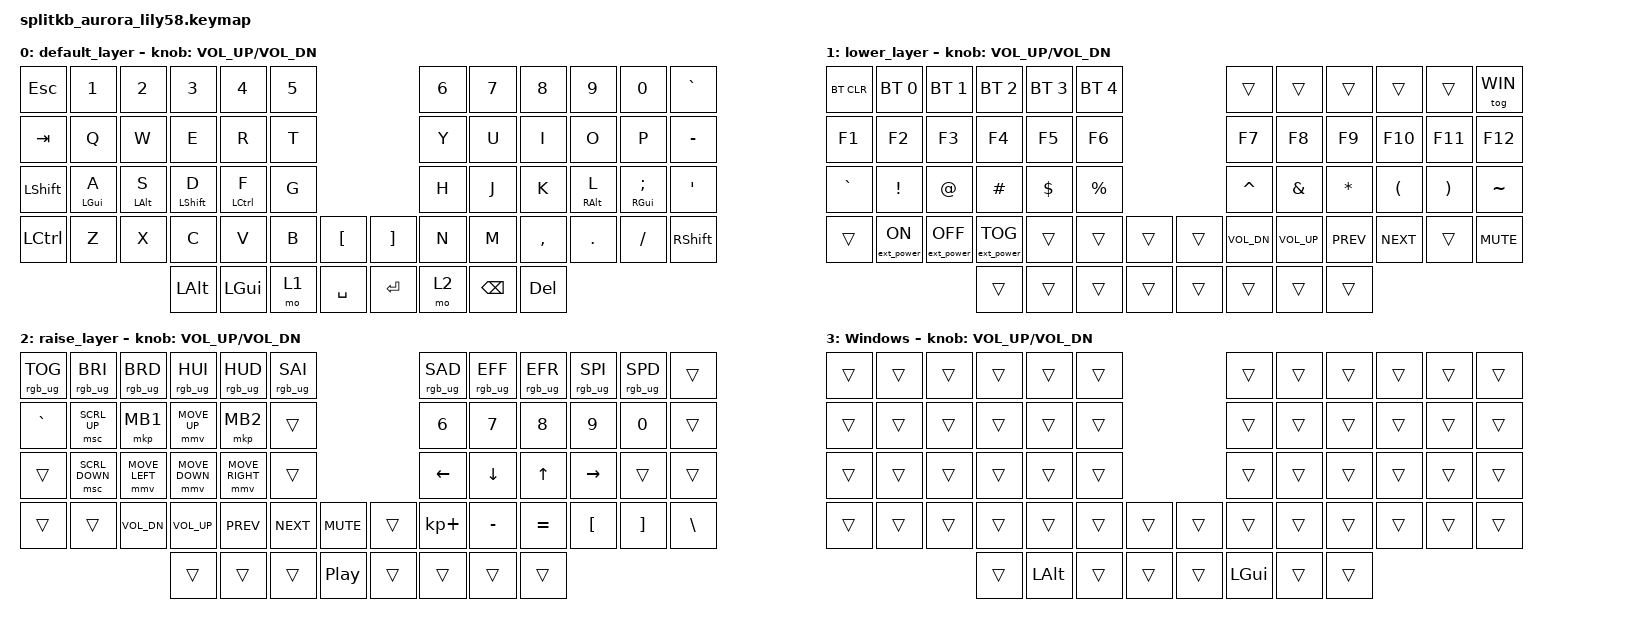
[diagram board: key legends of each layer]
/*
 * Copyright (c) 2022 The ZMK Contributors
 *
 * SPDX-License-Identifier: MIT
 */

#include <behaviors.dtsi>
#include <dt-bindings/zmk/rgb.h>
#include <dt-bindings/zmk/keys.h>
#include <dt-bindings/zmk/bt.h>
#include <dt-bindings/zmk/ext_power.h>
#include <dt-bindings/zmk/pointing.h>

#define ZMK_POINTING_DEFAULT_MOVE_VAL 1000  // default: 600
#define ZMK_POINTING_DEFAULT_SCRL_VAL 12    // default: 10
#define WIN 3

/ {
   behaviors {
         hm: homerow_mods {
             compatible = "zmk,behavior-hold-tap";
             label = "HOMEROW_MODS";
             #binding-cells = <2>;
             tapping-term-ms = <150>;
             quick-tap-ms = <0>;
             flavor = "tap-preferred";
             bindings = <&kp>, <&kp>;
         };
     };

    combos {
       compatible = "zmk,combos";

       combo_lpar {
         timeout-ms = <50>;
         key-positions = <16 17>;  // R + T
         bindings = <&kp LPAR>;
     };

     combo_rpar {
         timeout-ms = <50>;
         key-positions = <18 19>;  // Y + U
         bindings = <&kp RPAR>;
     };

     combo_lbkt {
         timeout-ms = <50>;
         key-positions = <28 29>; // F + G
         bindings = <&kp LBKT>;
     };

     combo_rbkt {
         timeout-ms = <50>;
         key-positions = <30 31>; // H + J
         bindings = <&kp RBKT>;
     };

     combo_lbrc {
         timeout-ms = <50>;
         key-positions = <40 41>; // V + B
         bindings = <&kp LBRC>;
     };

     combo_rbrc {
         timeout-ms = <50>;
         key-positions = <44 45>; // N + M
         bindings = <&kp RBRC>;
     };

     combo_esc {
         timeout-ms = <50>;
         key-positions = <31 32>; // J + K
         bindings = <&kp ESC>;
     };
     };

     keymap {
         compatible = "zmk,keymap";

         default_layer {
 /* DEFAULT LAYER WITH HOME ROW MODS
  * ,-----------------------------------------.                    ,-----------------------------------------.
  * | ESC  |   1  |   2  |   3  |   4  |   5  |                    |   6  |   7  |   8  |   9  |   0  |  `   |
  * |------+------+------+------+------+------|                    |------+------+------+------+------+------|
  * | TAB  |   Q  |   W  |   E  |   R  |   T  |                    |   Y  |   U  |   I  |   O  |   P  |  -   |
  * |------+------+------+------+------+------|                    |------+------+------+------+------+------|
  * | CTRL | A/GUI| S/ALT| D/SFT| F/CTL|   G  |-------.    ,-------|   H  |J/CTL |K/SFT |L/ALT |;/GUI |  '   |
  * |------+------+------+------+------+------|   [   |    |   ]   |------+------+------+------+------+------|
  * | SHIFT|   Z  |   X  |   C  |   V  |   B  |-------|    |-------|   N  |   M  |  ,   |  .   |  /   |SHIFT |
  * `-----------------------------------------/       /     \      \-----------------------------------------'
  *                   | ALT  | GUI  |LOWER | /SPACE  /       \ENTER \ |RAISE |BSPC  | DEL  |
  *                   |      |      |      |/       /         \      \|      |      |      |
  *                   `----------------------------'           '------''--------------------'
  */
             bindings = <
 &kp ESC   &kp N1          &kp N2          &kp N3           &kp N4           &kp N5                     &kp N6 &kp N7           &kp N8           &kp N9          &kp N0           &kp GRAVE
 &kp TAB   &kp Q           &kp W           &kp E            &kp R            &kp T                      &kp Y  &kp U            &kp I            &kp O           &kp P            &kp MINUS
 &kp LSHFT &hm LGUI A      &hm LALT S      &hm LSHFT D      &hm LCTRL F      &kp G                      &kp H  &kp J            &kp K      &hm RALT L      &hm RGUI SEMI    &kp SQT
 &kp LCTRL &kp Z           &kp X           &kp C            &kp V            &kp B  &kp LBKT   &kp RBKT &kp N  &kp M            &kp COMMA        &kp DOT         &kp FSLH         &kp RSHFT
                                            &kp LALT         &kp LGUI         &mo 1  &kp SPACE  &kp RET  &mo 2  &kp BSPC         &kp DEL
             >;

             sensor-bindings = <&inc_dec_kp C_VOL_UP C_VOL_DN>;
         };

         lower_layer {
 /* LOWER LAYER
  * ,-----------------------------------------.                    ,-----------------------------------------.
  * |BTCLR | BT1  | BT2  | BT3  | BT4  | BT5  |                    |      |      |      |      |      |WINTOG|
  * |------+------+------+------+------+------|                    |------+------+------+------+------+------|
  * |  F1  |  F2  |  F3  |  F4  |  F5  |  F6  |                    |  F7  |  F8  |  F9  | F10  | F11  | F12  |
  * |------+------+------+------+------+------|                    |------+------+------+------+------+------|
  * |  `   |  !   |  @   |  #   |  $   |  %   |-------.    ,-------|  ^   |  &   |  *   |  (   |  )   |  ~   |
  * |------+------+------+------+------+------|       |    |       |------+------+------+------+------+------|
  * |      |EP_ON |EP_OFF|EP_TOG|      |      |-------|    |-------|VOL-  |VOL+  | PREV | NEXT |      |MUTE  |
  * `-----------------------------------------/       /     \      \-----------------------------------------'
  *                   |      |      |      | /       /       \      \ |      |      |      |
  *                   |      |      |      |/       /         \      \|      |      |      |
  *                   `----------------------------'           '------''--------------------'
  */
             bindings = <
 &bt BT_CLR &bt BT_SEL 0     &bt BT_SEL 1      &bt BT_SEL 2      &bt BT_SEL 3 &bt BT_SEL 4                 &trans    &trans    &trans    &trans    &trans    &tog WIN
 &kp F1     &kp F2           &kp F3            &kp F4            &kp F5       &kp F6                       &kp F7    &kp F8    &kp F9    &kp F10   &kp F11   &kp F12
 &kp GRAVE  &kp EXCL         &kp AT            &kp HASH          &kp DOLLAR   &kp PRCNT                    &kp CARET &kp AMPS  &kp STAR  &kp LPAR  &kp RPAR  &kp TILDE
 &trans     &ext_power EP_ON &ext_power EP_OFF &ext_power EP_TOG &trans       &trans    &trans   &trans    &kp K_VOL_DN &kp K_VOL_UP &kp C_PREV &kp C_NEXT &trans &kp K_MUTE
                                                &trans            &trans       &trans    &trans   &trans    &trans    &trans    &trans
             >;

             sensor-bindings = <&inc_dec_kp C_VOL_UP C_VOL_DN>;
         };

         raise_layer {
 /* RAISE LAYER (MOUSE + RGB)
  * ,-----------------------------------------.                    ,-----------------------------------------.
  * |RGBTOG|RGBBRI|RGBBRD|RGBHUI|RGBHUD|RGBSAI|                    |RGBSAD|RGBEFF|RGBEFR|RGBSPI|RGBSPD|      |
  * |------+------+------+------+------+------|                    |------+------+------+------+------+------|
  * |  `   |MW_UP |M_BTN1| MS_U |M_BTN2|      |                    |   6  |   7  |   8  |   9  |   0  |      |
  * |------+------+------+------+------+------|                    |------+------+------+------+------+------|
  * |  F1  |MW_DN | MS_L | MS_D | MS_R |      |-------.    ,-------|LEFT  | DOWN |  UP  |RIGHT |      |      |
  * |------+------+------+------+------+------|  MUTE |    |       |------+------+------+------+------+------|
  * |  F7  |  F8  | VOL- | VOL+ | PREV | NEXT |-------|    |-------|  +   |  -   |  =   |  [   |  ]   |  \   |
  * `-----------------------------------------/       /     \      \-----------------------------------------'
  *                   |      |      |      | / PLAY  /       \      \ |      |      |      |
  *                   |      |      |      |/       /         \      \|      |      |      |
  *                   `----------------------------'           '------''--------------------'
  */
             bindings = <
 &rgb_ug RGB_TOG &rgb_ug RGB_BRI &rgb_ug RGB_BRD &rgb_ug RGB_HUI &rgb_ug RGB_HUD &rgb_ug RGB_SAI                        &rgb_ug RGB_SAD &rgb_ug RGB_EFF &rgb_ug RGB_EFR &rgb_ug RGB_SPI &rgb_ug RGB_SPD &trans
 &kp GRAVE       &msc SCRL_UP    &mkp MB1        &mmv MOVE_UP    &mkp MB2        &trans                                  &kp N6          &kp N7          &kp N8          &kp N9          &kp N0          &trans
 &trans          &msc SCRL_DOWN  &mmv MOVE_LEFT  &mmv MOVE_DOWN  &mmv MOVE_RIGHT &trans                                  &kp LEFT        &kp DOWN        &kp UP          &kp RIGHT       &trans          &trans
 &trans          &trans          &kp K_VOL_DN    &kp K_VOL_UP    &kp C_PREV      &kp C_NEXT   &kp K_MUTE   &trans       &kp KP_PLUS     &kp MINUS       &kp EQUAL       &kp LBKT        &kp RBKT        &kp BSLH
                                                 &trans          &trans          &trans       &kp C_PP     &trans       &trans          &trans          &trans
             >;

             sensor-bindings = <&inc_dec_kp C_VOL_UP C_VOL_DN>;
         };

         windows_layer {
             display-name = "Windows";
 /* WINDOWS LAYER
  * All keys transparent — GUI and ALT are swapped on the thumb keys.
  * Toggle on/off from the lower layer top-right corner key (GRAVE column).
  * Use the swapped GUI/ALT for easier Alt+Tab and Windows+X shortcuts.
  *
  * ,-----------------------------------------.                    ,-----------------------------------------.
  * |      |      |      |      |      |      |                    |      |      |      |      |      |      |
  * |------+------+------+------+------+------|                    |------+------+------+------+------+------|
  * |      |      |      |      |      |      |                    |      |      |      |      |      |      |
  * |------+------+------+------+------+------|                    |------+------+------+------+------+------|
  * |      |      |      |      |      |      |-------.    ,-------|      |      |      |      |      |      |
  * |------+------+------+------+------+------|       |    |       |------+------+------+------+------+------|
  * |      |      |      |      |      |      |-------|    |-------|      |      |      |      |      |      |
  * `-----------------------------------------/       /     \      \-----------------------------------------'
  *                   |      | ALT  |      | /       /       \      \ |      |      |      |
  *                   |      | GUI  |      |/       /         \      \|      |      |      |
  *                   `----------------------------'           '------''--------------------'
  */
             bindings = <
 &trans &trans &trans &trans &trans &trans                     &trans &trans &trans &trans &trans &trans
 &trans &trans &trans &trans &trans &trans                     &trans &trans &trans &trans &trans &trans
 &trans &trans &trans &trans &trans &trans                     &trans &trans &trans &trans &trans &trans
 &trans &trans &trans &trans &trans &trans &trans   &trans     &trans &trans &trans &trans &trans &trans
                             &trans &kp LALT &trans   &trans     &trans &kp LGUI &trans &trans
             >;

             sensor-bindings = <&inc_dec_kp C_VOL_UP C_VOL_DN>;
         };
     };
};
